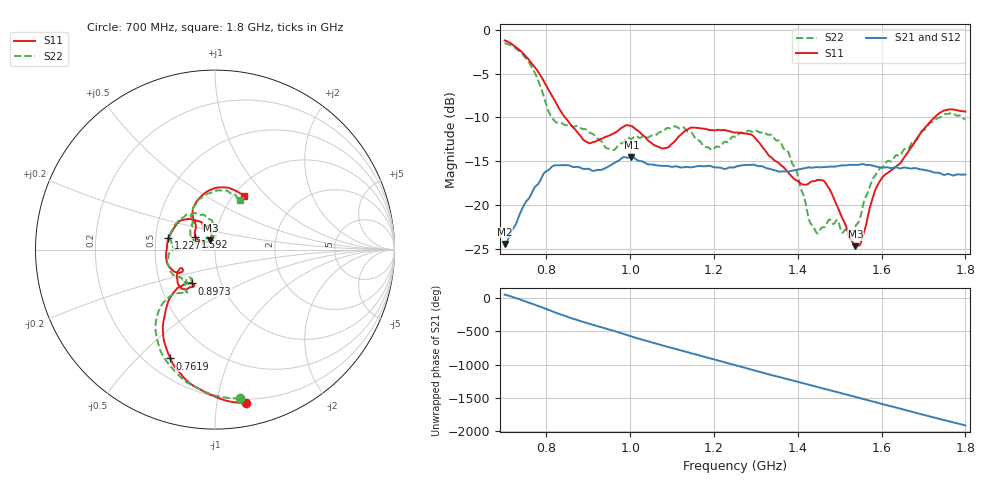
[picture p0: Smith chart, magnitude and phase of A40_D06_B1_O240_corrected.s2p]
! Created with skrf 1.9.0 (http://scikit-rf.org).
# Hz S RI R 50.0
!freq ReS11 ImS11 ReS21 ImS21 ReS12 ImS12 ReS22 ImS22
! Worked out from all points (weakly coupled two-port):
!   1601 points, 700 MHz to 1.8 GHz, reference 50 ohm
!   highest |S21| = -14.52 dB at 1.002 GHz (marker M1); lowest = -24.5 dB at 700 MHz (marker M2)
!   lowest |S11| = -24.7 dB at 1.537 GHz (marker M3), VSWR 1.12, Z = 47.2 + j4.93 ohm
!   |S11| at or under -10 dB: 844.5 MHz to 1.726 GHz (881.4 MHz wide, 68.6 % of centre)
!   |S22| runs from -24.0 to -1.5 dB; largest |S21 - S12| = 0.0035
!   S11 on the Smith chart (normalised r, x): 700 MHz: 0.17, -1.21; 761.9 MHz: 0.30, -0.63; 897.3 MHz: 0.72, -0.29; 1.227 GHz: 0.58, +0.08; 1.592 GHz: 0.79, +0.12; 1.8 GHz: 1.12, +0.76
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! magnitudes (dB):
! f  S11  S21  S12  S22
! 700 MHz  -1.2  -24.5  -24.2  -1.5
! 761.9 MHz  -3.7  -18.9  -18.9  -4.0
! 816.9 MHz  -7.8  -15.5  -15.6  -10.3
! 883.6 MHz  -12.3  -15.8  -15.7  -11.3
! 897.3 MHz  -12.8  -15.9  -15.9  -11.5
! 957.1 MHz  -11.9  -15.3  -15.3  -13.7
! 1.002 GHz  -11.0  -14.5  -14.6  -12.5
! 1.067 GHz  -13.4  -15.5  -15.5  -11.8
! 1.145 GHz  -11.2  -15.7  -15.7  -11.7
! 1.193 GHz  -11.4  -15.6  -15.6  -13.7
! 1.227 GHz  -11.5  -15.9  -15.8  -12.8
! 1.25 GHz  -11.7  -15.7  -15.6  -12.2
! 1.357 GHz  -15.4  -16.2  -16.1  -12.7
! 1.395 GHz  -17.2  -16.0  -16.0  -15.9
! 1.434 GHz  -17.3  -15.7  -15.7  -22.3
! 1.468 GHz  -17.6  -15.7  -15.7  -22.3
! 1.525 GHz  -23.7  -15.4  -15.4  -24.0
! 1.537 GHz  -24.7  -15.4  -15.4  -22.5
! 1.592 GHz  -17.6  -15.7  -15.7  -16.1
! 1.617 GHz  -16.3  -15.7  -15.7  -15.0
! 1.733 GHz  -9.7  -16.3  -16.4  -10.1
! 1.8 GHz  -9.3  -16.5  -16.5  -10.2
